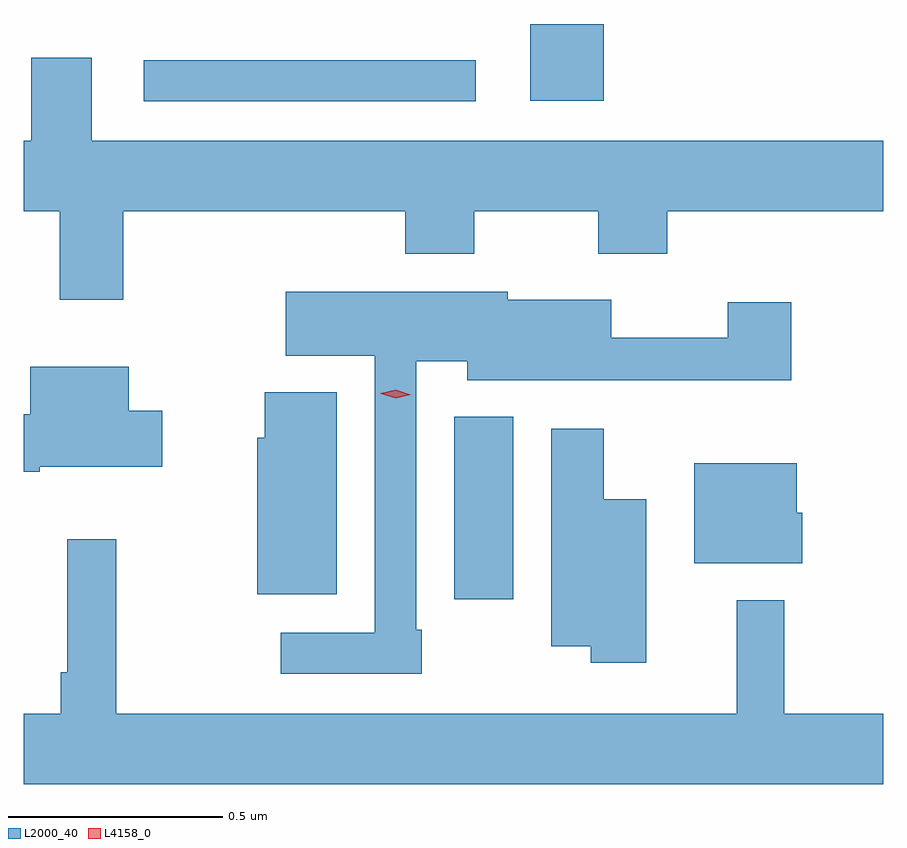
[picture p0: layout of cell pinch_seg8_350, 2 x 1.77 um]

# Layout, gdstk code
import gdstk
lib = gdstk.Library(unit=1e-6, precision=1e-09)
def R(c, l, rs):  # rectangles x0, y0, x1, y1
    for r in rs: c.add(gdstk.rectangle(r[:2], r[2:], *l))
def P(c, l, *ps):  # polygons
    for p in ps: c.add(gdstk.Polygon(p, *l))
L2000_40 = (2000, 40)
L4158_0 = (4158, 0)

pinch_seg8_350 = lib.new_cell('pinch_seg8_350')
R(pinch_seg8_350, L2000_40, [(460.619,1151.562,460.756,1151.986), (459.897,1152.72,460.669,1152.816), (460.796,1152.722,460.966,1152.9)])
P(pinch_seg8_350, L2000_40, [(459.849,1152.464),(460.505,1152.464),(460.505,1152.365),(460.665,1152.365),(460.665,1152.464),(460.954,1152.464),(460.954,1152.365),(461.114,1152.365),(461.114,1152.464),(461.617,1152.464),(461.617,1152.628),(459.775,1152.628),(459.775,1152.821),(459.635,1152.821),(459.635,1152.628),(459.617,1152.628),(459.617,1152.464),(459.701,1152.464),(459.701,1152.258),(459.849,1152.258)],
  [(460.543,1151.491),(460.53,1151.491),(460.53,1152.116),(460.649,1152.116),(460.649,1152.071),(461.403,1152.071),(461.403,1152.253),(461.255,1152.253),(461.255,1152.17),(460.984,1152.17),(460.984,1152.259),(460.743,1152.259),(460.743,1152.277),(460.227,1152.277),(460.227,1152.128),(460.434,1152.128),(460.434,1151.484),(460.215,1151.484),(460.215,1151.388),(460.543,1151.388)],
  [(459.655,1151.87),(459.94,1151.87),(459.94,1152),(459.862,1152),(459.862,1152.103),(459.632,1152.103),(459.632,1151.992),(459.617,1151.992),(459.617,1151.858),(459.655,1151.858)],
  [(460.345,1152.043),(460.178,1152.043),(460.178,1151.937),(460.16,1151.937),(460.16,1151.573),(460.345,1151.573)],
  [(461.065,1151.794),(460.966,1151.794),(460.966,1151.959),(460.844,1151.959),(460.844,1151.453),(460.936,1151.453),(460.936,1151.414),(461.065,1151.414)],
  [(461.428,1151.763),(461.416,1151.763),(461.416,1151.878),(461.177,1151.878),(461.177,1151.645),(461.428,1151.645)],
  [(461.617,1151.296),(461.386,1151.296),(461.386,1151.56),(461.276,1151.56),(461.276,1151.296),(459.832,1151.296),(459.832,1151.701),(459.718,1151.701),(459.718,1151.392),(459.703,1151.392),(459.703,1151.296),(459.617,1151.296),(459.617,1151.132),(461.617,1151.132)])
P(pinch_seg8_350, L4158_0, [(460.483,1152.029),(460.448,1152.04),(460.448,1152.041),(460.448,1152.041),(460.483,1152.049),(460.518,1152.038),(460.518,1152.038),(460.518,1152.038)])

lib.write_gds('pinch_seg8_350.gds')
